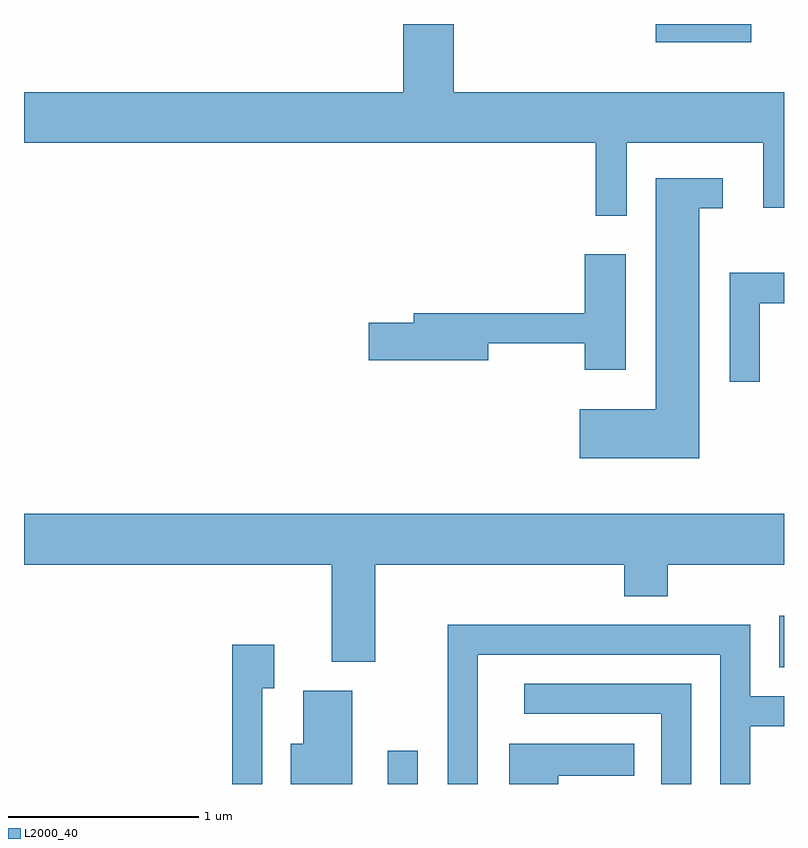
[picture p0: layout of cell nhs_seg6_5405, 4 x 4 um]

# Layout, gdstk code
import gdstk
lib = gdstk.Library(unit=1e-6, precision=1e-09)
def R(c, l, rs):  # rectangles x0, y0, x1, y1
    for r in rs: c.add(gdstk.rectangle(r[:2], r[2:], *l))
def P(c, l, *ps):  # polygons
    for p in ps: c.add(gdstk.Polygon(p, *l))
L2000_40 = (2000, 40)

nhs_seg6_5405 = lib.new_cell('nhs_seg6_5405')
R(nhs_seg6_5405, L2000_40, [(351.526,1602.162,351.684,1602.338), (353.586,1602.776,353.611,1603.048), (352.936,1606.066,353.438,1606.162)])
P(nhs_seg6_5405, L2000_40, [(352.784,1605.536),(353.501,1605.536),(353.501,1605.196),(353.611,1605.196),(353.611,1605.804),(351.874,1605.804),(351.874,1606.162),(351.606,1606.162),(351.606,1605.804),(349.611,1605.804),(349.611,1605.536),(352.621,1605.536),(352.621,1605.153),(352.784,1605.153)],
  [(353.164,1605.191),(353.288,1605.191),(353.288,1605.349),(352.936,1605.349),(352.936,1604.134),(352.536,1604.134),(352.536,1603.876),(353.164,1603.876)],
  [(352.779,1604.949),(352.561,1604.949),(352.561,1604.639),(351.661,1604.639),(351.661,1604.589),(351.426,1604.589),(351.426,1604.391),(352.054,1604.391),(352.054,1604.481),(352.561,1604.481),(352.561,1604.341),(352.779,1604.341)],
  [(353.484,1604.691),(353.611,1604.691),(353.611,1604.854),(353.326,1604.854),(353.326,1604.278),(353.484,1604.278)],
  [(351.459,1603.316),(352.771,1603.316),(352.771,1603.151),(352.999,1603.151),(352.999,1603.316),(353.611,1603.316),(353.611,1603.584),(349.611,1603.584),(349.611,1603.316),(351.231,1603.316),(351.231,1602.806),(351.459,1602.806)],
  [(351.999,1602.841),(353.276,1602.841),(353.276,1602.162),(353.434,1602.162),(353.434,1602.466),(353.611,1602.466),(353.611,1602.624),(353.434,1602.624),(353.434,1602.999),(351.841,1602.999),(351.841,1602.162),(351.999,1602.162)],
  [(350.864,1602.666),(350.929,1602.666),(350.929,1602.894),(350.706,1602.894),(350.706,1602.162),(350.864,1602.162)],
  [(353.124,1602.689),(352.243,1602.689),(352.243,1602.531),(352.966,1602.531),(352.966,1602.162),(353.124,1602.162)],
  [(351.339,1602.654),(351.081,1602.654),(351.081,1602.374),(351.016,1602.374),(351.016,1602.162),(351.339,1602.162)],
  [(352.424,1602.206),(352.823,1602.206),(352.823,1602.374),(352.166,1602.374),(352.166,1602.162),(352.424,1602.162)])

lib.write_gds('nhs_seg6_5405.gds')
